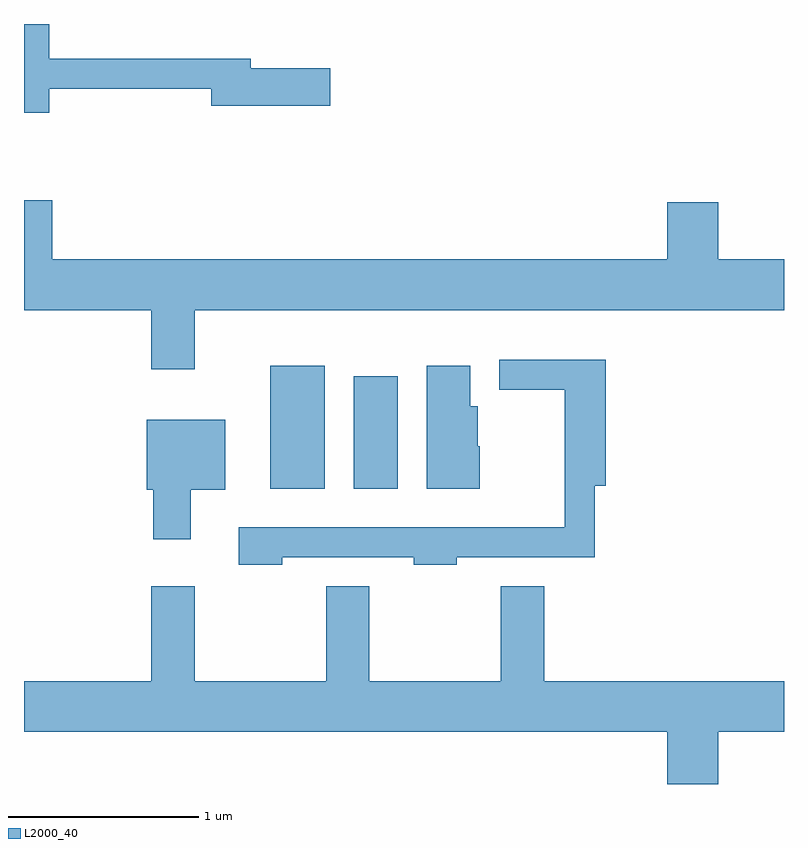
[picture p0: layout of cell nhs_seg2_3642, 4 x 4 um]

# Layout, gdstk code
import gdstk
lib = gdstk.Library(unit=1e-6, precision=1e-09)
def R(c, l, rs):  # rectangles x0, y0, x1, y1
    for r in rs: c.add(gdstk.rectangle(r[:2], r[2:], *l))
def P(c, l, *ps):  # polygons
    for p in ps: c.add(gdstk.Polygon(p, *l))
L2000_40 = (2000, 40)

nhs_seg2_3642 = lib.new_cell('nhs_seg2_3642')
R(nhs_seg2_3642, L2000_40, [(292.906,1067.356,293.194,1068.004), (293.346,1067.356,293.579,1067.949)])
P(nhs_seg2_3642, L2000_40, [(291.744,1069.461),(292.596,1069.461),(292.596,1069.371),(293.224,1069.371),(293.224,1069.569),(292.804,1069.569),(292.804,1069.619),(291.744,1069.619),(291.744,1069.802),(291.611,1069.802),(291.611,1069.336),(291.744,1069.336)],
  [(292.509,1068.296),(295.611,1068.296),(295.611,1068.564),(295.264,1068.564),(295.264,1068.864),(294.996,1068.864),(294.996,1068.564),(291.759,1068.564),(291.759,1068.874),(291.611,1068.874),(291.611,1068.296),(292.281,1068.296),(292.281,1067.986),(292.509,1067.986)],
  [(292.969,1066.996),(293.661,1066.996),(293.661,1066.956),(293.889,1066.956),(293.889,1066.996),(294.614,1066.996),(294.614,1067.371),(294.674,1067.371),(294.674,1068.034),(294.113,1068.034),(294.113,1067.876),(294.456,1067.876),(294.456,1067.154),(292.741,1067.154),(292.741,1066.956),(292.969,1066.956)],
  [(294.009,1067.58),(293.999,1067.58),(293.999,1067.789),(293.959,1067.789),(293.959,1068.004),(293.731,1068.004),(293.731,1067.356),(294.009,1067.356)],
  [(292.489,1067.351),(292.669,1067.351),(292.669,1067.719),(292.256,1067.719),(292.256,1067.351),(292.291,1067.351),(292.291,1067.091),(292.489,1067.091)],
  [(295.264,1066.076),(295.611,1066.076),(295.611,1066.344),(294.349,1066.344),(294.349,1066.844),(294.121,1066.844),(294.121,1066.344),(293.429,1066.344),(293.429,1066.844),(293.201,1066.844),(293.201,1066.344),(292.509,1066.344),(292.509,1066.844),(292.281,1066.844),(292.281,1066.344),(291.611,1066.344),(291.611,1066.076),(294.996,1066.076),(294.996,1065.802),(295.264,1065.802)])

lib.write_gds('nhs_seg2_3642.gds')
